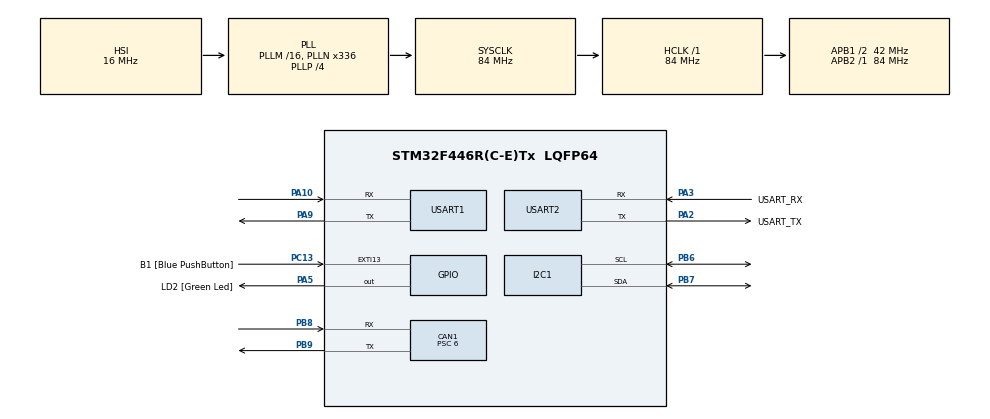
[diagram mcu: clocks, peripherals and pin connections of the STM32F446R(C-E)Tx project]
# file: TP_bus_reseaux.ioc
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CAN1.BS1=CAN_BS1_11TQ
CAN1.BS2=CAN_BS2_2TQ
CAN1.CalculateBaudRate=500000
CAN1.CalculateTimeBit=2000
CAN1.CalculateTimeQuantum=142.85714285714286
CAN1.Prescaler=6
Mcu.Family=STM32F4
Mcu.Name=STM32F446R(C-E)Tx
Mcu.Package=LQFP64
NVIC.PriorityGroup=NVIC_PRIORITYGROUP_0
NVIC.USART2_IRQn=true\:0\:0\:false\:false\:true\:true\:true\:true
PA10.Mode=Asynchronous
PA10.Signal=USART1_RX
PA13.GPIO_Label=TMS
PA13.Mode=Serial_Wire
PA13.Signal=SYS_JTMS-SWDIO
PA14.GPIO_Label=TCK
PA14.Mode=Serial_Wire
PA14.Signal=SYS_JTCK-SWCLK
PA2.GPIO_Label=USART_TX
PA2.Mode=Asynchronous
PA2.Signal=USART2_TX
PA3.GPIO_Label=USART_RX
PA3.Mode=Asynchronous
PA3.Signal=USART2_RX
PA5.GPIO_Label=LD2 [Green Led]
PA5.Signal=GPIO_Output
PA9.Mode=Asynchronous
PA9.Signal=USART1_TX
PB3.GPIO_Label=SWO
PB3.Signal=SYS_JTDO-SWO
PB6.Mode=I2C
PB6.Signal=I2C1_SCL
PB7.Mode=I2C
PB7.Signal=I2C1_SDA
PB8.Mode=CAN_Activate
PB8.Signal=CAN1_RX
PB9.Mode=CAN_Activate
PB9.Signal=CAN1_TX
PC13.GPIO_Label=B1 [Blue PushButton]
PC13.GPIO_ModeDefaultEXTI=GPIO_MODE_IT_FALLING
PC13.Signal=GPXTI13
PC14-OSC32_IN.Mode=LSE-External-Oscillator
PC14-OSC32_IN.Signal=RCC_OSC32_IN
PC15-OSC32_OUT.Mode=LSE-External-Oscillator
PC15-OSC32_OUT.Signal=RCC_OSC32_OUT
PH0-OSC_IN.Mode=HSE-External-Oscillator
PH0-OSC_IN.Signal=RCC_OSC_IN
PH1-OSC_OUT.Mode=HSE-External-Oscillator
PH1-OSC_OUT.Signal=RCC_OSC_OUT
ProjectManager.HeapSize=0x200
ProjectManager.StackSize=0x400
ProjectManager.TargetToolchain=STM32CubeIDE
RCC.48MHZClocksFreq_Value=84000000
RCC.AHBFreq_Value=84000000
RCC.APB1CLKDivider=RCC_HCLK_DIV2
RCC.APB1Freq_Value=42000000
RCC.APB1TimFreq_Value=84000000
RCC.APB2Freq_Value=84000000
RCC.APB2TimFreq_Value=84000000
RCC.CortexFreq_Value=84000000
RCC.FLatency-AdvancedSettings=FLASH_LATENCY_2
RCC.HCLKFreq_Value=84000000
RCC.HSE_VALUE=8000000
RCC.HSI_VALUE=16000000
RCC.PLLN=336
RCC.PLLP=RCC_PLLP_DIV4
RCC.SYSCLKFreq_VALUE=84000000
RCC.SYSCLKSource=RCC_SYSCLKSOURCE_PLLCLK
RCC.USBFreq_Value=168000000
RCC.VCOOutputFreq_Value=336000000
USART1.VirtualMode=VM_ASYNC
USART2.VirtualMode=VM_ASYNC
board=NUCLEO-F446RE

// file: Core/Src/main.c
/* USER CODE BEGIN Header */
/**
 ******************************************************************************
 * @file           : main.c
 * @brief          : Main program body
 ******************************************************************************
 * @attention
 *
 * Copyright (c) 2025 STMicroelectronics.
 * All rights reserved.
 *
 * This software is licensed under terms that can be found in the LICENSE file
 * in the root directory of this software component.
 * If no LICENSE file comes with this software, it is provided AS-IS.
 *
 ******************************************************************************
 */
/* USER CODE END Header */
#include "main.h"
#include "can.h"
#include "i2c.h"
#include "usart.h"
#include "gpio.h"
#include "BMP280.h"
#include <stdio.h>
#include "shell.h"

/* USER CODE BEGIN PD */

#define COEF_MOTOR 14
/* USER CODE END PD */

/* USER CODE BEGIN PV */

extern h_shell_t hshell1;

uint8_t aData[8];
uint32_t pTxMailbox;
CAN_TxHeaderTypeDef pHeader ={
	.StdId = 0x61,
	.ExtId = 0x61,
	.IDE = CAN_ID_STD,
	.RTR = CAN_RTR_DATA,
	.DLC = 2,
	.TransmitGlobalTime = DISABLE
};

/* USER CODE END PV */

void SystemClock_Config(void);

int main(void)
{

  /* MCU Configuration--------------------------------------------------------*/

  /* Reset of all peripherals, Initializes the Flash interface and the Systick. */
  HAL_Init();

  /* Configure the system clock */
  SystemClock_Config();

  /* Initialize all configured peripherals */
  MX_GPIO_Init();
  MX_USART2_UART_Init();
  MX_I2C1_Init();
  MX_USART1_UART_Init();
  MX_CAN1_Init();
  /* USER CODE BEGIN 2 */
  BMP280_Init();
  HAL_CAN_Start(&hcan1);

  init_device();
  /* USER CODE END 2 */

  /* Infinite loop */
  /* USER CODE BEGIN WHILE */
	while (1)
	{

		//printf("0x%04X\r\n",comp);
//		aData[0] = 0x5A;
//		aData[1] = 0x00;
//		HAL_CAN_AddTxMessage(&hcan1,&pHeader, aData, &pTxMailbox);
//		HAL_Delay(100);
//		aData[0] = 0x00;
//		aData[1] = 0x01;
//		HAL_CAN_AddTxMessage(&hcan1,&pHeader, aData, &pTxMailbox);
//		HAL_Delay(100);

    /* USER CODE END WHILE */

	}
}

void SystemClock_Config(void)
{
  RCC_OscInitTypeDef RCC_OscInitStruct = {0};
  RCC_ClkInitTypeDef RCC_ClkInitStruct = {0};

  /** Configure the main internal regulator output voltage
  */
  __HAL_RCC_PWR_CLK_ENABLE();
  __HAL_PWR_VOLTAGESCALING_CONFIG(PWR_REGULATOR_VOLTAGE_SCALE3);

  /** Initializes the RCC Oscillators according to the specified parameters
  * in the RCC_OscInitTypeDef structure.
  */
  RCC_OscInitStruct.OscillatorType = RCC_OSCILLATORTYPE_HSI;
  RCC_OscInitStruct.HSIState = RCC_HSI_ON;
  RCC_OscInitStruct.HSICalibrationValue = RCC_HSICALIBRATION_DEFAULT;
  RCC_OscInitStruct.PLL.PLLState = RCC_PLL_ON;
  RCC_OscInitStruct.PLL.PLLSource = RCC_PLLSOURCE_HSI;
  RCC_OscInitStruct.PLL.PLLM = 16;
  RCC_OscInitStruct.PLL.PLLN = 336;
  RCC_OscInitStruct.PLL.PLLP = RCC_PLLP_DIV4;
  RCC_OscInitStruct.PLL.PLLQ = 2;
  RCC_OscInitStruct.PLL.PLLR = 2;
  if (HAL_RCC_OscConfig(&RCC_OscInitStruct) != HAL_OK)
  {
    Error_Handler();
  }

  /** Initializes the CPU, AHB and APB buses clocks
  */
  RCC_ClkInitStruct.ClockType = RCC_CLOCKTYPE_HCLK|RCC_CLOCKTYPE_SYSCLK
                              |RCC_CLOCKTYPE_PCLK1|RCC_CLOCKTYPE_PCLK2;
  RCC_ClkInitStruct.SYSCLKSource = RCC_SYSCLKSOURCE_PLLCLK;
  RCC_ClkInitStruct.AHBCLKDivider = RCC_SYSCLK_DIV1;
  RCC_ClkInitStruct.APB1CLKDivider = RCC_HCLK_DIV2;
  RCC_ClkInitStruct.APB2CLKDivider = RCC_HCLK_DIV1;

  if (HAL_RCC_ClockConfig(&RCC_ClkInitStruct, FLASH_LATENCY_2) != HAL_OK)
  {
    Error_Handler();
  }
}

void Error_Handler(void)
{
	__disable_irq();
	while (1)
	{
	}
}
